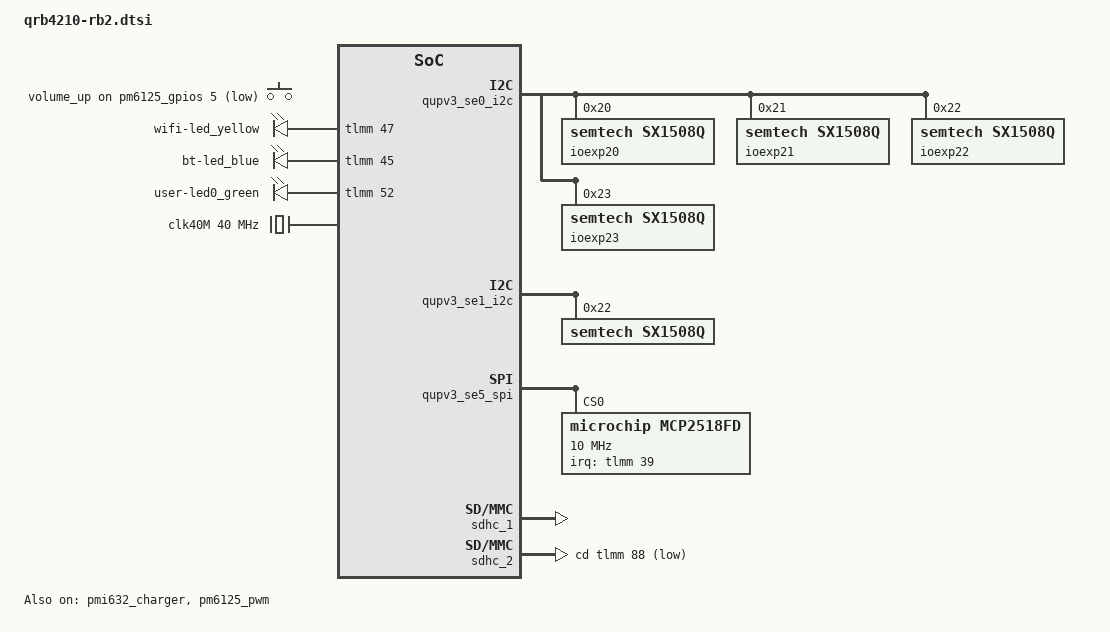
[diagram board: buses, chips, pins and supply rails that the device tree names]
// SPDX-License-Identifier: BSD-3-Clause
/*
 * Copyright (c) Qualcomm Technologies, Inc. and/or its subsidiaries.
 */

#include <dt-bindings/gpio/gpio.h>
#include <dt-bindings/iio/qcom,spmi-vadc.h>
#include <dt-bindings/input/input.h>
#include <dt-bindings/iio/qti_power_supply_iio.h>

&tlmm {
	/delete-property/ qcom,gpios-reserved;
};

&qupv3_se0_i2c {
	status = "ok";

	ioexp20: i2c0gpio-expander@20 {
		#gpio-cells = <2>;
		compatible = "semtech,sx1508q";
		reg = <0x20>;
		gpio-controller;

		pinctrl-names = "default";
		pinctrl-0 = <&sx1508_cam0a_strobe_active
				&sx1508_cam0b_strobe_active
				&sx1508_cam0b_spare_active>;

		sx1508_cam0a_strobe_active: sx1508_cam0a_strobe_active {
			pins = "gpio0";
			bias-disable;
			output-high;
		};

		sx1508_cam0b_strobe_active: sx1508_cam0b_strobe_active {
			pins = "gpio3";
			bias-disable;
			output-high;
		};

		sx1508_cam0b_spare_active: sx1508_cam0b_spare_active {
			pins = "gpio4";
			bias-disable;
			output-high;
		};
	};

	ioexp21: i2c0gpio-expander@21 {
		#gpio-cells = <2>;
		compatible = "semtech,sx1508q";
		reg = <0x21>;
		gpio-controller;

		pinctrl-names = "default";
		pinctrl-0 = <&sx1508_lcd0_vsn_active
				&sx1508_cam1_pwdn_active>;

		sx1508_lcd0_vsn_active: sx1508_lcd0_vsn_active {
			pins = "gpio1";
			bias-disable;
			output-high;
		};

		sx1508_lcd0_vsn_sleep: sx1508_lcd0_vsn_sleep {
			pins = "gpio1";
			bias-disable;
			output-low;
		};

		sx1508_cam1_pwdn_active: sx1508_cam1_pwdn_active {
			pins = "gpio4";
			bias-disable;
			output-high;
		};
	};

	ioexp22: i2c0gpio-expander@22 {
		#gpio-cells = <2>;
		compatible = "semtech,sx1508q";
		reg = <0x22>;
		gpio-controller;

		pinctrl-names = "default";
		pinctrl-0 = <&sx1508_lcd0_vsp_active>;

		sx1508_lcd0_vsp_active: sx1508_lcd0_vsp_active {
			pins = "gpio7";
			bias-disable;
			output-high;
		};

		sx1508_lcd0_vsp_sleep: sx1508_lcd0_vsp_sleep {
			pins = "gpio7";
			bias-disable;
			output-low;
		};
	};

	ioexp23: i2c0gpio-expander@23 {
		#gpio-cells = <2>;
		compatible = "semtech,sx1508q";
		reg = <0x23>;
		gpio-controller;

		pinctrl-names = "default";
		pinctrl-0 = <&sx1508_cam1_strobe_active
				&sx1508_cam2_strobe_active
				&sx1508_cam2_pwdn_active
				&sx1508_gmsl_power_active>;

		sx1508_cam1_strobe_active: sx1508_cam1_strobe_active {
			pins = "gpio2";
			bias-disable;
			output-high;
		};

		sx1508_cam2_strobe_active: sx1508_cam2_strobe_active {
			pins = "gpio3";
			bias-disable;
			output-high;
		};

		sx1508_cam2_pwdn_active: sx1508_cam2_pwdn_active {
			pins = "gpio5";
			bias-disable;
			output-high;
		};

		sx1508_gmsl_power_active: sx1508_gmsl_power_active {
			pins = "gpio7";
			bias-disable;
			output-high;
		};
	};
};

&qupv3_se1_i2c {
	status = "ok";
	#include "smb1355.dtsi"
};

&pmi632_qg {
	status = "disabled";
};

&pmi632_charger {
	status = "ok";
	qcom,batteryless-platform;
	qcom,lpd-disable;
	qcom,suspend-input-on-debug-batt;
	qcom,sw-jeita-enable;
	qcom,step-charging-enable;
	/* SMB1355 only */
	qcom,sec-charger-config = <2>;
	qcom,hvdcp2-max-icl-ua = <2000000>;
	dpdm-supply = <&qusb_phy0>;
	qcom,charger-temp-max = <800>;
	qcom,smb-temp-max = <800>;
	qcom,auto-recharge-soc = <98>;
	qcom,flash-disable-soc = <10>;
	qcom,hw-die-temp-mitigation;
	qcom,hw-connector-mitigation;
	qcom,connector-internal-pull-kohm = <100>;
	qcom,float-option = <1>;
	qcom,thermal-mitigation = <4200000 3500000 3000000
			2500000 2000000 1500000 1000000 500000>;
};

&pmi632_gpios {
	smb_en {
		smb_en_default: smb_en_default {
			pins = "gpio2";
			function = "func1";
			output-enable;
		};
	};

	pmi632_sense {
		/* GPIO 7 and 8 are external-sense pins for PMI632 */
		pmi632_sense_default: pmi632_sense_default {
			pins = "gpio7", "gpio8";
			bias-high-impedance;	/* disable the GPIO */
			bias-disable;		/* no-pull */
		};
	};

	pmi632_ctm {
		/* Disable GPIO1 for h/w base mitigation */
		pmi632_ctm_default: pmi632_ctm_default {
			pins = "gpio1";
			bias-high-impedance;	/* disable the GPIO */
			bias-disable;		/* no-pull */
		};
	};
};

&pm6125_gpios {
	key_vol_up {
		key_vol_up_default: key_vol_up_default {
			pins = "gpio5";
			function = "normal";
			input-enable;
			bias-pull-up;
			power-source = <0>;
		};
	};
};

&usb0 {
	extcon = <&pmi632_charger>, <&eud>;
};

&qusb_phy0 {
	qcom,qusb-phy-init-seq = <0xf8 0x80
				0xb3 0x84
				0x81 0x88
				0xc7 0x8c
				0x30 0x08
				0x79 0x0c
				0x21 0x10
				0x14 0x9c
				0x80 0x04
				0x9f 0x1c
				0x00 0x18>;
};

&soc {
	gpio_keys {
		compatible = "gpio-keys";
		label = "gpio-keys";

		pinctrl-names = "default";
		pinctrl-0 = <&key_vol_up_default>;

		vol_up {
			label = "volume_up";
			gpios = <&pm6125_gpios 5 GPIO_ACTIVE_LOW>;
			linux,input-type = <1>;
			linux,code = <KEY_VOLUMEUP>;
			linux,can-disable;
			debounce-interval = <15>;
			gpio-key,wakeup;
		};
	};

	leds {
		compatible = "gpio-leds";

		wifi_led {
			label = "wifi-led_yellow";
			gpios = <&tlmm 47 GPIO_ACTIVE_HIGH>;
			default-state = "off";
		};

		bt_led {
			label = "bt-led_blue";
			gpios = <&tlmm 45 GPIO_ACTIVE_HIGH>;
			default-state = "off";
		};

		user_led0 {
			label = "user-led0_green";
			gpios = <&tlmm 52 GPIO_ACTIVE_HIGH>;
			default-state = "off";
		};
	};

	fan0: pwm-fan {
		status = "disabled";
		compatible = "pwm-fan";
		pwms = <&pm6125_pwm 0 100000>;
		cooling-levels = <0 32 64 128 170 230 255>;
	};

	clk40M: can_clock {
		compatible = "fixed-clock";
		#clock-cells = <0>;
		clock-frequency = <40000000>;
	};
};

&pmi632_pwm {
	led@3 {
		label = "user-led1_green";
	};

	led@2 {
		label = "user-led2_green";
	};

	led@1 {
		label = "user-led3_green";
	};
};

&qupv3_se5_spi {
	status = "okay";
	mcp2518fd: can@0 {
		compatible = "microchip,mcp2518fd";
		reg = <0>;
		clocks = <&clk40M>;
		interrupt-parent = <&tlmm>;
		interrupts = <39 0>;
		interrupt-names = "can_irq";
		spi-max-frequency = <10000000>;
		message-transmit-interval = <800>;
		gpio-controller;
		status = "okay";
	};
};

&qupv3_se1_i2c {
	status = "okay";
	#address-cells = <1>;
	#size-cells = <0>;
	qcom,clk-freq-out = <400000>;

	sx1508q: ch_io_expander@22 {
		compatible = "semtech,sx1508q";
		reg = <0x22>;
		#gpio-cells = <2>;
		#interrupt-cells = <2>;
		gpio-controller;
	};
};

&sdhc_1 {
	vdd-supply = <&L24A>;
	qcom,vdd-voltage-level = <2960000 2960000>;
	qcom,vdd-current-level = <0 570000>;

	vdd-io-supply = <&L11A>;
	qcom,vdd-io-always-on;
	qcom,vdd-io-lpm-sup;
	qcom,vdd-io-voltage-level = <1800000 1800000>;
	qcom,vdd-io-current-level = <0 325000>;

	pinctrl-names = "default", "sleep";
	pinctrl-0 = <&sdc1_on>;
	pinctrl-1 = <&sdc1_off>;
	status = "ok";
};

&sdhc_2 {
	vdd-supply = <&L22A>;
	qcom,vdd-voltage-level = <2960000 2960000>;
	qcom,vdd-current-level = <0 800000>;

	vdd-io-supply = <&L5A>;
	qcom,vdd-io-voltage-level = <1800000 2960000>;
	qcom,vdd-io-current-level = <0 22000>;

	pinctrl-names = "default", "sleep";
	pinctrl-0 = <&sdc2_on>;
	pinctrl-1 = <&sdc2_off>;

	cd-gpios = <&tlmm 88 GPIO_ACTIVE_LOW>;

	status = "ok";
};

&tlmm {
	smb_int_default: smb_int_default {
		mux {
			pins = "gpio105";
			function = "gpio";
		};

		config {
			pins = "gpio105";
			bias-pull-up;
			input-enable;
		};
	};
};

&smb1355 {
	pinctrl-names = "default";
	pinctrl-0 = <&smb_int_default>;
	interrupt-parent = <&tlmm>;
	interrupts = <105 IRQ_TYPE_LEVEL_LOW>;
	status = "disabled";
};

&smb1355_charger {
	pinctrl-names = "default";
	pinctrl-0 = <&smb_en_default &pmi632_sense_default &pmi632_ctm_default>;
	qcom,parallel-mode = <1>;
	qcom,disable-ctm;
	qcom,hw-die-temp-mitigation;
	status = "disabled";
};

&pm6125_pwm {
	status = "ok";
};

&thermal_zones {
	quiet-therm-step {
		status = "disabled";
	};
};
